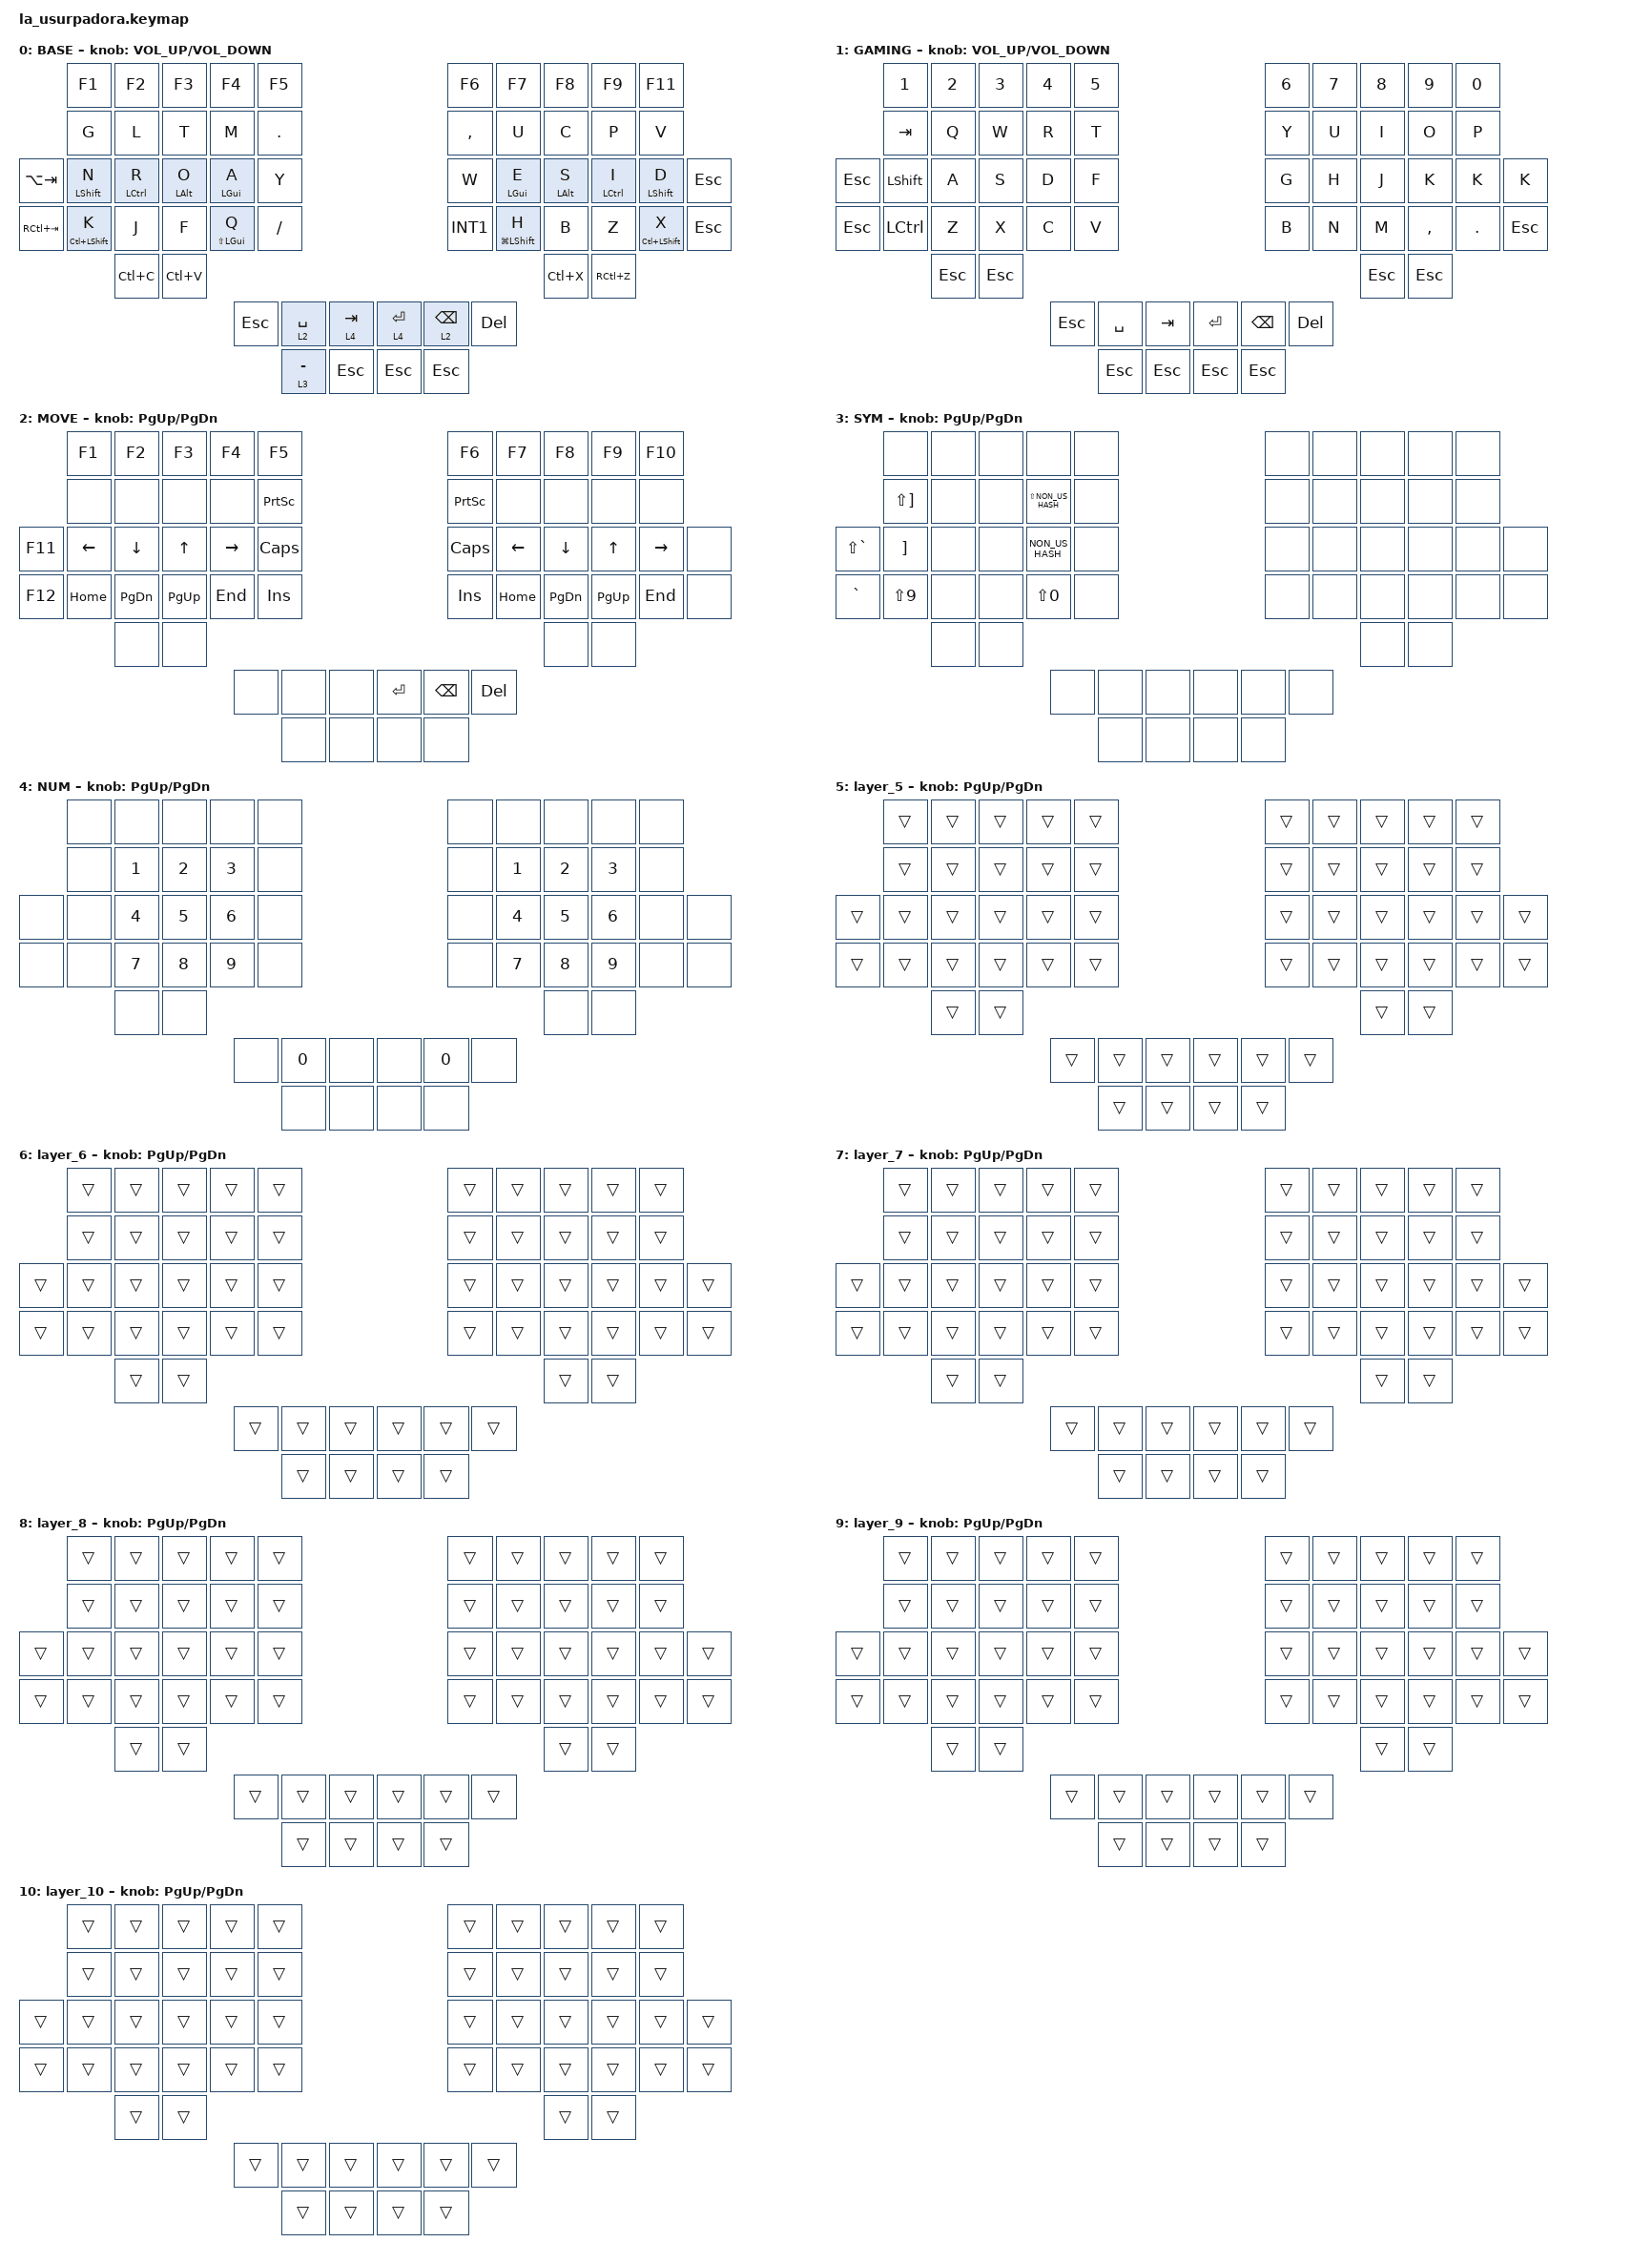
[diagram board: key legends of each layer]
// This file was generated from a template. Edit it to match your keyboard.
// See https://zmk.dev/docs/development/hardware-integration/new-shield for more instructions.

#include <behaviors.dtsi>
#include <dt-bindings/zmk/keys.h>

/ {
    // Define a default keymap here.
    // See https://zmk.dev/docs/development/hardware-integration/new-shield#default-keymap.

    combos {
        compatible = "zmk,combos";

        a1 {
            bindings = <&a1>;
            key-positions = <24 16>;
            layers = <0>;
        };

        a2 {
            bindings = <&a2>;
            key-positions = <24 17>;
            layers = <0>;
        };

        a3 {
            bindings = <&a3>;
            key-positions = <24 18>;
            layers = <0>;
        };

        a4 {
            bindings = <&a4>;
            key-positions = <24 19>;
            layers = <0>;
        };

        o1 {
            bindings = <&o1>;
            key-positions = <23 16>;
            layers = <0>;
        };

        o2 {
            bindings = <&o2>;
            key-positions = <23 17>;
            layers = <0>;
        };

        o3 {
            bindings = <&o3>;
            key-positions = <23 18>;
            layers = <0>;
        };

        o4 {
            bindings = <&o4>;
            key-positions = <23 19>;
            layers = <0>;
        };

        game {
            bindings = <&to 1>;
            key-positions = <31 43>;
            layers = <0>;
        };

        base {
            bindings = <&to 0>;
            key-positions = <31 43>;
            layers = <1>;
        };

        cedilha {
            bindings = <&kp SEMI>;
            key-positions = <27 30>;
            layers = <0>;
        };

        e1 {
            bindings = <&e1>;
            key-positions = <13 27>;
            layers = <0>;
        };

        e2 {
            bindings = <&e2>;
            key-positions = <27 12>;
            layers = <0>;
        };

        e3 {
            bindings = <&e3>;
            key-positions = <27 11>;
            layers = <0>;
        };

        e4 {
            bindings = <&e4>;
            key-positions = <27 10>;
            layers = <0>;
        };

        i1 {
            bindings = <&i1>;
            key-positions = <29 13>;
            layers = <0>;
        };

        i2 {
            bindings = <&i2>;
            key-positions = <29 12>;
            layers = <0>;
        };

        i3 {
            bindings = <&i3>;
            key-positions = <29 11>;
            layers = <0>;
        };

        i4 {
            bindings = <&i4>;
            key-positions = <29 10>;
            layers = <0>;
        };

        u1 {
            bindings = <&u1>;
            key-positions = <16 13>;
            layers = <0>;
        };

        u2 {
            bindings = <&u2>;
            key-positions = <16 12>;
            layers = <0>;
        };

        u3 {
            bindings = <&u3>;
            key-positions = <16 11>;
            layers = <0>;
        };

        u4 {
            bindings = <&u4>;
            key-positions = <16 10>;
            layers = <0>;
        };

        unlock {
            bindings = <&studio_unlock>;
            key-positions = <4 3>;
            layers = <0>;
        };
    };

    macros {
        a1: a1 {
            compatible = "zmk,behavior-macro";
            #binding-cells = <0>;
            bindings = <&kp SINGLE_QUOTE &kp A>;
            label = "A1";
        };

        a2: a2 {
            compatible = "zmk,behavior-macro";
            #binding-cells = <0>;
            bindings = <&kp LEFT_BRACKET &kp A>;
            label = "A2";
        };

        a3: a3 {
            compatible = "zmk,behavior-macro";
            #binding-cells = <0>;
            bindings = <&kp LS(SINGLE_QUOTE) &kp A>;
            label = "A3";
        };

        a4: a4 {
            compatible = "zmk,behavior-macro";
            #binding-cells = <0>;
            bindings = <&kp LS(LEFT_BRACKET) &kp A>;
            label = "A4";
        };

        e1: e1 {
            compatible = "zmk,behavior-macro";
            #binding-cells = <0>;
            bindings = <&kp SINGLE_QUOTE &kp E>;
            label = "E1";
        };

        e2: e2 {
            compatible = "zmk,behavior-macro";
            #binding-cells = <0>;
            bindings = <&kp LEFT_BRACKET &kp E>;
            label = "E2";
        };

        e3: e3 {
            compatible = "zmk,behavior-macro";
            #binding-cells = <0>;
            bindings = <&kp LS(SINGLE_QUOTE) &kp E>;
            label = "E3";
        };

        e4: e4 {
            compatible = "zmk,behavior-macro";
            #binding-cells = <0>;
            bindings = <&kp LS(LEFT_BRACKET) &kp E>;
            label = "E4";
        };

        i1: i1 {
            compatible = "zmk,behavior-macro";
            #binding-cells = <0>;
            bindings = <&kp SINGLE_QUOTE &kp I>;
            label = "I1";
        };

        i2: i2 {
            compatible = "zmk,behavior-macro";
            #binding-cells = <0>;
            bindings = <&kp LEFT_BRACKET &kp I>;
            label = "I2";
        };

        i3: i3 {
            compatible = "zmk,behavior-macro";
            #binding-cells = <0>;
            bindings = <&kp LS(SINGLE_QUOTE) &kp I>;
            label = "I3";
        };

        i4: i4 {
            compatible = "zmk,behavior-macro";
            #binding-cells = <0>;
            bindings = <&kp LS(LEFT_BRACKET) &kp I>;
            label = "I4";
        };

        o1: o1 {
            compatible = "zmk,behavior-macro";
            #binding-cells = <0>;
            bindings = <&kp SINGLE_QUOTE &kp O>;
            label = "O1";
        };

        u1: u1 {
            compatible = "zmk,behavior-macro";
            #binding-cells = <0>;
            bindings = <&kp SINGLE_QUOTE &kp U>;
            label = "U1";
        };

        o2: o2 {
            compatible = "zmk,behavior-macro";
            #binding-cells = <0>;
            bindings = <&kp LEFT_BRACKET &kp O>;
            label = "O2";
        };

        u2: u2 {
            compatible = "zmk,behavior-macro";
            #binding-cells = <0>;
            bindings = <&kp LEFT_BRACKET &kp U>;
            label = "U2";
        };

        o3: o3 {
            compatible = "zmk,behavior-macro";
            #binding-cells = <0>;
            bindings = <&kp LS(SINGLE_QUOTE) &kp O>;
            label = "O3";
        };

        u3: u3 {
            compatible = "zmk,behavior-macro";
            #binding-cells = <0>;
            bindings = <&kp LS(SINGLE_QUOTE) &kp U>;
            label = "U3";
        };

        o4: o4 {
            compatible = "zmk,behavior-macro";
            #binding-cells = <0>;
            bindings = <&kp LS(LEFT_BRACKET) &kp O>;
            label = "O4";
        };

        u4: u4 {
            compatible = "zmk,behavior-macro";
            #binding-cells = <0>;
            bindings = <&kp LS(SINGLE_QUOTE) &kp U>;
            label = "U4";
        };
    };

    keymap {
        compatible = "zmk,keymap";

        BASE {
            bindings = <
             &kp F1                &kp F2              &kp F3          &kp F4              &kp F5                                &kp F6           &kp F7                &kp F8          &kp F9              &kp F11
             &kp G                 &kp L               &kp T           &kp M               &kp PERIOD                            &kp COMMA        &kp U                 &kp C           &kp P               &kp V
&kp LA(TAB)  &mt LEFT_SHIFT N      &mt LEFT_CONTROL R  &mt LEFT_ALT O  &mt LEFT_GUI A      &kp Y                                 &kp W            &mt LEFT_GUI E        &mt LEFT_ALT S  &mt LEFT_CONTROL I  &mt LEFT_SHIFT D      &kp ESC
&kp RC(TAB)  &mt LC(LEFT_SHIFT) K  &kp J               &kp F           &mt LS(LEFT_GUI) Q  &kp SLASH                             &kp INT1         &mt LG(LEFT_SHIFT) H  &kp B           &kp Z               &mt LC(LEFT_SHIFT) X  &kp ESC
                                   &kp LC(C)           &kp LC(V)       &kp ESCAPE          &lt 2 SPACE  &lt 4 TAB  &lt 4 RETURN  &lt 2 BACKSPACE  &kp DEL               &kp LC(X)       &kp RC(Z)
                                                                                           &lt 3 MINUS  &kp ESC    &kp ESC       &kp ESC
            >;

            sensor-bindings = <&inc_dec_kp C_VOLUME_UP C_VOLUME_DOWN>;
        };

        GAMING {
            bindings = <
         &kp N1     &kp N2   &kp N3   &kp N4   &kp N5                       &kp N6    &kp N7   &kp N8   &kp N9     &kp N0
         &kp TAB    &kp Q    &kp W    &kp R    &kp T                        &kp Y     &kp U    &kp I    &kp O      &kp P
&kp ESC  &kp LSHFT  &kp A    &kp S    &kp D    &kp F                        &kp G     &kp H    &kp J    &kp K      &kp K    &kp K
&kp ESC  &kp LCTRL  &kp Z    &kp X    &kp C    &kp V                        &kp B     &kp N    &kp M    &kp COMMA  &kp DOT  &kp ESC
                    &kp ESC  &kp ESC  &kp ESC  &kp SPACE  &kp TAB  &kp RET  &kp BSPC  &kp DEL  &kp ESC  &kp ESC
                                               &kp ESC    &kp ESC  &kp ESC  &kp ESC
            >;

            sensor-bindings = <&inc_dec_kp C_VOLUME_UP C_VOLUME_DOWN>;
        };

        MOVE {
            bindings = <
         &kp F1    &kp F2     &kp F3     &kp F4     &kp F5                             &kp F6           &kp F7    &kp F8     &kp F9     &kp F10
         &none     &none      &none      &none      &kp PRINTSCREEN                    &kp PRINTSCREEN  &none     &none      &none      &none
&kp F11  &kp LEFT  &kp DOWN   &kp UP     &kp RIGHT  &kp CAPS                           &kp CAPSLOCK     &kp LEFT  &kp DOWN   &kp UP     &kp RIGHT  &none
&kp F12  &kp HOME  &kp PG_DN  &kp PG_UP  &kp END    &kp INS                            &kp INSERT       &kp HOME  &kp PG_DN  &kp PG_UP  &kp END    &none
                   &none      &none      &none      &none            &none  &kp ENTER  &kp BACKSPACE    &kp DEL   &none      &none
                                                    &none            &none  &none      &none
            >;

            sensor-bindings = <&inc_dec_kp PG_UP PG_DN>;
        };

        SYM {
            bindings = <
               &none              &none  &none  &none                &none                &none  &none  &none  &none  &none
               &kp LS(RBKT)       &none  &none  &kp LS(NON_US_HASH)  &none                &none  &none  &none  &none  &none
&kp LS(GRAVE)  &kp RIGHT_BRACKET  &none  &none  &kp NON_US_HASH      &none                &none  &none  &none  &none  &none  &none
&kp GRAVE      &kp LS(N9)         &none  &none  &kp LS(N0)           &none                &none  &none  &none  &none  &none  &none
                                  &none  &none  &none                &none  &none  &none  &none  &none  &none  &none
                                                                     &none  &none  &none  &none
            >;

            sensor-bindings = <&inc_dec_kp PG_UP PG_DN>;
        };

        NUM {
            bindings = <
       &none  &none   &none   &none   &none                 &none   &none   &none   &none   &none
       &none  &kp N1  &kp N2  &kp N3  &none                 &none   &kp N1  &kp N2  &kp N3  &none
&none  &none  &kp N4  &kp N5  &kp N6  &none                 &none   &kp N4  &kp N5  &kp N6  &none  &none
&none  &none  &kp N7  &kp N8  &kp N9  &none                 &none   &kp N7  &kp N8  &kp N9  &none  &none
              &none   &none   &none   &kp N0  &none  &none  &kp N0  &none   &none   &none
                                      &none   &none  &none  &none
            >;

            sensor-bindings = <&inc_dec_kp PG_UP PG_DN>;
        };

        layer_5 {
            bindings = <
        &trans  &trans  &trans  &trans  &trans                  &trans  &trans  &trans  &trans  &trans
        &trans  &trans  &trans  &trans  &trans                  &trans  &trans  &trans  &trans  &trans
&trans  &trans  &trans  &trans  &trans  &trans                  &trans  &trans  &trans  &trans  &trans  &trans
&trans  &trans  &trans  &trans  &trans  &trans                  &trans  &trans  &trans  &trans  &trans  &trans
                &trans  &trans  &trans  &trans  &trans  &trans  &trans  &trans  &trans  &trans
                                        &trans  &trans  &trans  &trans
            >;

            sensor-bindings = <&inc_dec_kp PG_UP PG_DN>;
        };

        layer_6 {
            bindings = <
        &trans  &trans  &trans  &trans  &trans                  &trans  &trans  &trans  &trans  &trans
        &trans  &trans  &trans  &trans  &trans                  &trans  &trans  &trans  &trans  &trans
&trans  &trans  &trans  &trans  &trans  &trans                  &trans  &trans  &trans  &trans  &trans  &trans
&trans  &trans  &trans  &trans  &trans  &trans                  &trans  &trans  &trans  &trans  &trans  &trans
                &trans  &trans  &trans  &trans  &trans  &trans  &trans  &trans  &trans  &trans
                                        &trans  &trans  &trans  &trans
            >;

            sensor-bindings = <&inc_dec_kp PG_UP PG_DN>;
        };

        layer_7 {
            bindings = <
        &trans  &trans  &trans  &trans  &trans                  &trans  &trans  &trans  &trans  &trans
        &trans  &trans  &trans  &trans  &trans                  &trans  &trans  &trans  &trans  &trans
&trans  &trans  &trans  &trans  &trans  &trans                  &trans  &trans  &trans  &trans  &trans  &trans
&trans  &trans  &trans  &trans  &trans  &trans                  &trans  &trans  &trans  &trans  &trans  &trans
                &trans  &trans  &trans  &trans  &trans  &trans  &trans  &trans  &trans  &trans
                                        &trans  &trans  &trans  &trans
            >;

            sensor-bindings = <&inc_dec_kp PG_UP PG_DN>;
        };

        layer_8 {
            bindings = <
        &trans  &trans  &trans  &trans  &trans                  &trans  &trans  &trans  &trans  &trans
        &trans  &trans  &trans  &trans  &trans                  &trans  &trans  &trans  &trans  &trans
&trans  &trans  &trans  &trans  &trans  &trans                  &trans  &trans  &trans  &trans  &trans  &trans
&trans  &trans  &trans  &trans  &trans  &trans                  &trans  &trans  &trans  &trans  &trans  &trans
                &trans  &trans  &trans  &trans  &trans  &trans  &trans  &trans  &trans  &trans
                                        &trans  &trans  &trans  &trans
            >;

            sensor-bindings = <&inc_dec_kp PG_UP PG_DN>;
        };

        layer_9 {
            bindings = <
        &trans  &trans  &trans  &trans  &trans                  &trans  &trans  &trans  &trans  &trans
        &trans  &trans  &trans  &trans  &trans                  &trans  &trans  &trans  &trans  &trans
&trans  &trans  &trans  &trans  &trans  &trans                  &trans  &trans  &trans  &trans  &trans  &trans
&trans  &trans  &trans  &trans  &trans  &trans                  &trans  &trans  &trans  &trans  &trans  &trans
                &trans  &trans  &trans  &trans  &trans  &trans  &trans  &trans  &trans  &trans
                                        &trans  &trans  &trans  &trans
            >;

            sensor-bindings = <&inc_dec_kp PG_UP PG_DN>;
        };

        layer_10 {
            bindings = <
        &trans  &trans  &trans  &trans  &trans                  &trans  &trans  &trans  &trans  &trans
        &trans  &trans  &trans  &trans  &trans                  &trans  &trans  &trans  &trans  &trans
&trans  &trans  &trans  &trans  &trans  &trans                  &trans  &trans  &trans  &trans  &trans  &trans
&trans  &trans  &trans  &trans  &trans  &trans                  &trans  &trans  &trans  &trans  &trans  &trans
                &trans  &trans  &trans  &trans  &trans  &trans  &trans  &trans  &trans  &trans
                                        &trans  &trans  &trans  &trans
            >;

            sensor-bindings = <&inc_dec_kp PG_UP PG_DN>;
        };
    };
};
